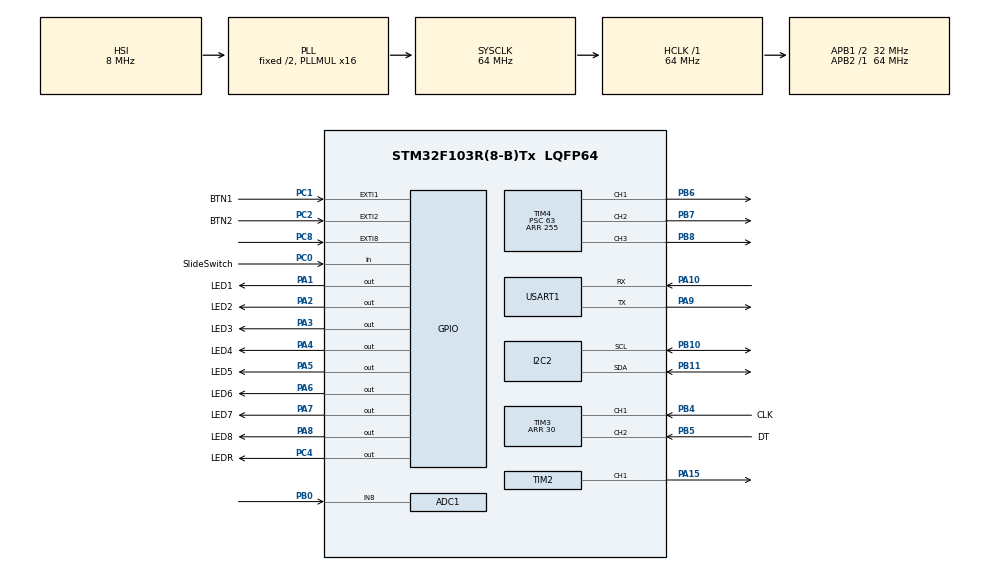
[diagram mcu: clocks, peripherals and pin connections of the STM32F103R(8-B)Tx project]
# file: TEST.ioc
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ADC1.Channel-2\#ChannelRegularConversion=ADC_CHANNEL_8
ADC1.ContinuousConvMode=ENABLE
ADC1.NbrOfConversionFlag=1
ADC1.Rank-2\#ChannelRegularConversion=1
ADC1.SamplingTime-2\#ChannelRegularConversion=ADC_SAMPLETIME_1CYCLE_5
ADC1.master=1
I2C2.I2C_Mode=I2C_Fast
Mcu.Family=STM32F1
Mcu.Name=STM32F103R(8-B)Tx
Mcu.Package=LQFP64
NVIC.EXTI1_IRQn=true\:0\:0\:false\:false\:true\:true\:true\:true
NVIC.EXTI2_IRQn=true\:0\:0\:false\:false\:true\:true\:true\:true
NVIC.PriorityGroup=NVIC_PRIORITYGROUP_4
PA1.GPIO_Label=LED1
PA1.GPIO_ModeDefaultOutputPP=GPIO_MODE_OUTPUT_PP
PA1.GPIO_PuPd=GPIO_NOPULL
PA1.PinState=GPIO_PIN_SET
PA1.Signal=GPIO_Output
PA10.Mode=Asynchronous
PA10.Signal=USART1_RX
PA13.Mode=Trace_Asynchronous_SW
PA13.Signal=SYS_JTMS-SWDIO
PA14.Mode=Trace_Asynchronous_SW
PA14.Signal=SYS_JTCK-SWCLK
PA15.Signal=S_TIM2_CH1_ETR
PA2.GPIO_Label=LED2
PA2.PinState=GPIO_PIN_SET
PA2.Signal=GPIO_Output
PA3.GPIO_Label=LED3
PA3.PinState=GPIO_PIN_SET
PA3.Signal=GPIO_Output
PA4.GPIO_Label=LED4
PA4.PinState=GPIO_PIN_SET
PA4.Signal=GPIO_Output
PA5.GPIO_Label=LED5
PA5.PinState=GPIO_PIN_SET
PA5.Signal=GPIO_Output
PA6.GPIO_Label=LED6
PA6.PinState=GPIO_PIN_SET
PA6.Signal=GPIO_Output
PA7.GPIO_Label=LED7
PA7.PinState=GPIO_PIN_SET
PA7.Signal=GPIO_Output
PA8.GPIO_Label=LED8
PA8.PinState=GPIO_PIN_SET
PA8.Signal=GPIO_Output
PA9.Mode=Asynchronous
PA9.Signal=USART1_TX
PB0.Signal=ADCx_IN8
PB10.Mode=I2C
PB10.Signal=I2C2_SCL
PB11.Mode=I2C
PB11.Signal=I2C2_SDA
PB3.Mode=Trace_Asynchronous_SW
PB3.Signal=SYS_JTDO-TRACESWO
PB4.GPIO_Label=CLK
PB4.Signal=S_TIM3_CH1
PB5.GPIO_Label=DT
PB5.Signal=S_TIM3_CH2
PB6.Signal=S_TIM4_CH1
PB7.Signal=S_TIM4_CH2
PB8.Signal=S_TIM4_CH3
PC0.GPIO_Label=SlideSwitch
PC0.Signal=GPIO_Input
PC1.GPIO_Label=BTN1
PC1.GPIO_ModeDefaultEXTI=GPIO_MODE_IT_RISING
PC1.GPIO_PuPd=GPIO_PULLUP
PC1.Signal=GPXTI1
PC2.GPIO_Label=BTN2
PC2.GPIO_PuPd=GPIO_PULLUP
PC2.Signal=GPXTI2
PC4.GPIO_Label=LEDR
PC4.Signal=GPIO_Output
PC8.Signal=GPXTI8
ProjectManager.HeapSize=0x200
ProjectManager.StackSize=0x400
ProjectManager.TargetToolchain=STM32CubeIDE
RCC.ADCPresc=RCC_ADCPCLK2_DIV8
RCC.AHBFreq_Value=64000000
RCC.APB1CLKDivider=RCC_HCLK_DIV2
RCC.APB1Freq_Value=32000000
RCC.APB1TimFreq_Value=64000000
RCC.APB2Freq_Value=64000000
RCC.APB2TimFreq_Value=64000000
RCC.HCLKFreq_Value=64000000
RCC.PLLMUL=RCC_PLL_MUL16
RCC.SYSCLKFreq_VALUE=64000000
RCC.SYSCLKSource=RCC_SYSCLKSOURCE_PLLCLK
RCC.USBFreq_Value=64000000
SH.ADCx_IN8.0=ADC1_IN8,IN8
SH.S_TIM2_CH1_ETR.0=TIM2_CH1,PWM Generation1 CH1
SH.S_TIM3_CH1.0=TIM3_CH1,Encoder_Interface
SH.S_TIM3_CH2.0=TIM3_CH2,Encoder_Interface
SH.S_TIM4_CH1.0=TIM4_CH1,PWM Generation1 CH1
SH.S_TIM4_CH2.0=TIM4_CH2,PWM Generation2 CH2
SH.S_TIM4_CH3.0=TIM4_CH3,PWM Generation3 CH3
TIM2.Channel-PWM\ Generation1\ CH1=TIM_CHANNEL_1
TIM2.Period=249
TIM2.Prescaler=63
TIM3.Period=30
TIM4.Channel-PWM\ Generation1\ CH1=TIM_CHANNEL_1
TIM4.Channel-PWM\ Generation2\ CH2=TIM_CHANNEL_2
TIM4.Channel-PWM\ Generation3\ CH3=TIM_CHANNEL_3
TIM4.Period=255
TIM4.Prescaler=63
USART1.VirtualMode=VM_ASYNC
board=custom

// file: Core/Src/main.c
/* USER CODE BEGIN Header */
/**
  ******************************************************************************
  * @file           : main.c
  * @brief          : Main program body
  ******************************************************************************
  * @attention
  *
  * Copyright (c) 2025 STMicroelectronics.
  * All rights reserved.
  *
  * This software is licensed under terms that can be found in the LICENSE file
  * in the root directory of this software component.
  * If no LICENSE file comes with this software, it is provided AS-IS.
  *
  ******************************************************************************
  */
/* USER CODE END Header */
#include "main.h"

/* USER CODE BEGIN Includes */
#include <stdio.h>
#include <stdbool.h>
#include <stdlib.h>
#include "fonts.h"
#include "ssd1306.h"

/* USER CODE END Includes */

/* USER CODE BEGIN PTD */
#define OLED_ADDRESS 0x3C
/* USER CODE END PTD */

ADC_HandleTypeDef hadc1;

I2C_HandleTypeDef hi2c2;

TIM_HandleTypeDef htim2;
TIM_HandleTypeDef htim3;
TIM_HandleTypeDef htim4;

UART_HandleTypeDef huart1;

void SystemClock_Config(void);
static void MX_GPIO_Init(void);
static void MX_USART1_UART_Init(void);
static void MX_TIM2_Init(void);
static void MX_TIM4_Init(void);
static void MX_TIM3_Init(void);
static void MX_ADC1_Init(void);
static void MX_I2C2_Init(void);

/* USER CODE BEGIN 0 */

uint8_t Ledstatus;
//----------------------------------------------------------------------
// Send printf to uart1
int _write(int fd, char* ptr, int len) {
  HAL_StatusTypeDef hstatus;

  if (fd == 1 || fd == 2) {
    hstatus = HAL_UART_Transmit(&huart1, (uint8_t *) ptr, len, HAL_MAX_DELAY);
    if (hstatus == HAL_OK)
      return len;
    else
      return -1;
  }
  return -1;
}
//----------------------------------------------------------------------
GPIO_TypeDef* ports[] = {LED1_GPIO_Port, LED2_GPIO_Port, LED3_GPIO_Port, LED4_GPIO_Port,
                           LED5_GPIO_Port, LED6_GPIO_Port, LED7_GPIO_Port, LED8_GPIO_Port};
uint16_t pins[] = {LED1_Pin, LED2_Pin, LED3_Pin, LED4_Pin,
                     LED5_Pin, LED6_Pin, LED7_Pin, LED8_Pin};
//----------------------------------------------------------------------
uint8_t Ledstatus;
void prinLedStatus()
{

  for (int i = 0; i < 8; i++)
  {
	if (Ledstatus & (1 << i))
	{
		HAL_GPIO_WritePin(ports[i], pins[i], GPIO_PIN_SET);
	}else
	{
		HAL_GPIO_WritePin(ports[i], pins[i], GPIO_PIN_RESET);
	}
  }

}
//-----------------------------------------------------------------------------
void HandleButtons(uint16_t GPIO_Pin)
{
    if (Ledstatus == 0)
    {
        Ledstatus = 1;
    }
    if (GPIO_Pin == BTN1_Pin)
    {
        Ledstatus <<= 1;
        if (Ledstatus == 0) Ledstatus = 1;
    }
    else if (GPIO_Pin == BTN2_Pin)
    {
        Ledstatus >>= 1;
        if (Ledstatus == 0) Ledstatus = 0x80;
    }
}

//--------------------------------------------------------------------------
void HAL_GPIO_EXTI_Callback(uint16_t PGIO_Pin)
{
	HandleButtons(PGIO_Pin);
}
//--------------------------------------------------------------------------

void handlSlideSwitch()
{
	GPIO_PinState btnState = HAL_GPIO_ReadPin(SlideSwitch_GPIO_Port, SlideSwitch_Pin);
	if (btnState == GPIO_PIN_SET)
	{
		HAL_GPIO_WritePin(LEDR_GPIO_Port,LEDR_Pin, GPIO_PIN_SET);
	}
	else
	{
		HAL_GPIO_WritePin(LEDR_GPIO_Port,LEDR_Pin, GPIO_PIN_RESET);
	}
}

//--------------------------------------------------------------------------
void RGB_SetColor(uint8_t r, uint8_t g, uint8_t b) {
    __HAL_TIM_SET_COMPARE(&htim4, TIM_CHANNEL_1, r); // Красный
    __HAL_TIM_SET_COMPARE(&htim4, TIM_CHANNEL_2, g); // Зелёный
    __HAL_TIM_SET_COMPARE(&htim4, TIM_CHANNEL_3, b); // Синий
}
//---------------------------------------------------------------------------

void Buzzer_SetDuty(uint16_t duty) {
    if (duty > htim2.Init.Period) duty = htim2.Init.Period;
    __HAL_TIM_SET_COMPARE(&htim2, TIM_CHANNEL_1, duty);
}

//--------------------------------------------------------------------------
void handlSlideToBuzzer()
{
	GPIO_PinState btnState = HAL_GPIO_ReadPin(SlideSwitch_GPIO_Port, SlideSwitch_Pin);
	if (btnState == GPIO_PIN_SET)
	{
		 HAL_TIM_PWM_Start(&htim2, TIM_CHANNEL_1);
		 Buzzer_SetDuty( (htim2.Init.Period + 1) / 2 );
	}
	else
	{
		HAL_TIM_PWM_Stop(&htim2, TIM_CHANNEL_1);
	}
}

//-------------------------------------------------------------------------
int32_t encoder_value = 0;
uint8_t active_leds = 0;
const uint8_t led_sequence[8] = {1, 3, 7, 15, 31, 63, 127, 255};
uint16_t adc_value = 0;
//-------------------------------------------------------------------------

void UpdateEncoder()
{
	static uint16_t last_cnt = 0;
	    uint16_t curr_cnt = TIM3->CNT;
	    int16_t diff = curr_cnt - last_cnt;

	    // Обработка переполнения с ARR = 30
	    if(diff > 15) {
	        diff -= 30;
	    }
	    else if(diff < -15) {
	        diff += 30;
	    }

	    encoder_value += diff;
	    last_cnt = curr_cnt;

	    // Изменяем индекс только при значительном изменении положения
	    static int8_t accumulated_diff = 0;
	    accumulated_diff += diff;

	    if(accumulated_diff >= 4) { // Порог срабатывания +
	        if(active_leds < 7) active_leds++;
	        accumulated_diff = 0;
	    }
	    else if(accumulated_diff <= -4) { // Порог срабатывания -
	        if(active_leds > 0) active_leds--;
	        accumulated_diff = 0;
	    }

}

//-------------------------------------------------------------------------

int HandlAdctoLed(float value)
{
	int index = (int)(value / 0.5f); // шаг 0.5 В
	if(index > 7) index = 7;
	return led_sequence[index];
}

//-------------------------------------------------------------------------
/* Variables for AHT10 */
#define AHT10_ADDR         (0x38 << 1)
#define AHT10_INIT_CMD     0xE1
#define AHT10_MEASURE_CMD  0xAC
#define AHT10_DATA0        0x33
#define AHT10_DATA1        0x00

uint8_t AHT10_RX_Data[6];
uint32_t AHT10_ADC_Raw;
float AHT10_Temperature;
float AHT10_Humidity;

void AHT10_Init(void)
{
    uint8_t init_cmd[3] = {AHT10_INIT_CMD, 0x08, 0x00}; // 0x08 — калибровка
    HAL_I2C_Master_Transmit(&hi2c2, AHT10_ADDR, init_cmd, 3, 100);
    HAL_Delay(500);
}

void AHT10_ReadData(void)
{
    uint8_t measure_cmd[3] = {AHT10_MEASURE_CMD, AHT10_DATA0, AHT10_DATA1};

    HAL_I2C_Master_Transmit(&hi2c2, AHT10_ADDR, measure_cmd, 3, 100);
    HAL_Delay(100);

    HAL_I2C_Master_Receive(&hi2c2, AHT10_ADDR, AHT10_RX_Data, 6, 100);

    uint32_t hum_raw = ((uint32_t)(AHT10_RX_Data[1]) << 12) |
                       ((uint32_t)(AHT10_RX_Data[2]) << 4)  |
                       ((AHT10_RX_Data[3] & 0xF0) >> 4);

    AHT10_Humidity = ((float)hum_raw / 1048576.0f) * 100.0f;

    AHT10_ADC_Raw = ((uint32_t)(AHT10_RX_Data[3] & 0x0F) << 16) |
                    ((uint32_t)(AHT10_RX_Data[4]) << 8) |
                    (AHT10_RX_Data[5]);

    AHT10_Temperature = ((float)AHT10_ADC_Raw / 1048576.0f) * 200.0f - 50.0f;
}

//-------------------------------------------------------------------

/* USER CODE END 0 */

int main(void)
{

  /* MCU Configuration--------------------------------------------------------*/

  /* Reset of all peripherals, Initializes the Flash interface and the Systick. */
  HAL_Init();

  /* Configure the system clock */
  SystemClock_Config();

  /* Initialize all configured peripherals */
  MX_GPIO_Init();
  MX_USART1_UART_Init();
  MX_TIM2_Init();
  MX_TIM4_Init();
  MX_TIM3_Init();
  MX_ADC1_Init();
  MX_I2C2_Init();
  /* USER CODE BEGIN 2 */
  HAL_TIM_Encoder_Start(&htim3, TIM_CHANNEL_ALL);

  HAL_TIM_PWM_Start(&htim4, TIM_CHANNEL_1);
  HAL_TIM_PWM_Start(&htim4, TIM_CHANNEL_2);
  HAL_TIM_PWM_Start(&htim4, TIM_CHANNEL_3);
  HAL_ADC_Start(&hadc1);

  SSD1306_Init();

  SSD1306_GotoXY(0,0);
  SSD1306_Puts ("HELLO", &Font_7x10, 1);
  SSD1306_GotoXY(0,10);
  SSD1306_Puts ("WORLD", &Font_7x10, 1);
  SSD1306_UpdateScreen();

  AHT10_Init();

  /* USER CODE END 2 */

  /* Infinite loop */
  /* USER CODE BEGIN WHILE */

  Ledstatus = 0;
  while (1)
  {
	  UpdateEncoder();

	  // Управляем светодиодами в зависимости от положения энкодера
	  //Ledstatus = active_leds;
	  HAL_ADC_PollForConversion(&hadc1, HAL_MAX_DELAY);
	  adc_value = HAL_ADC_GetValue(&hadc1);

	  // Переводим значение в напряжение
	  float voltage = (adc_value * 3.3f) / 4095.0f;

	  Ledstatus = HandlAdctoLed(voltage);
	  prinLedStatus();
	  handlSlideSwitch();
	  handlSlideToBuzzer();

	  // Формируем строку для вывода
	  char buf[20];
	  sprintf(buf, "VOLTAGE %.2f", voltage);

	  SSD1306_GotoXY(0, 20);
	  SSD1306_Puts(buf, &Font_7x10, 1);
	  SSD1306_UpdateScreen();

	  AHT10_ReadData();

	  char buf2[20];
	  sprintf(buf2, "Temperature %.2f", AHT10_Temperature);

	  SSD1306_GotoXY(0, 30);
	  SSD1306_Puts(buf2, &Font_7x10, 1);
	  SSD1306_UpdateScreen();

	  char buf3[20];
	  sprintf(buf3, "Humidity %.2f", AHT10_Humidity);

	  SSD1306_GotoXY(0, 40);
	  SSD1306_Puts(buf3, &Font_7x10, 1);
	  SSD1306_UpdateScreen();

	/*  RGB_SetColor(255, 0, 0);   // Красный
	  HAL_Delay(500);
	  RGB_SetColor(0, 255, 0);   // Зелёный
	  HAL_Delay(500);
	  RGB_SetColor(0, 0, 255);   // Синий
	  HAL_Delay(500);
	  RGB_SetColor(255, 255, 255); // Белый
	  HAL_Delay(500);
	  RGB_SetColor(128, 0, 255);
	  HAL_Delay(500);*/

    /* USER CODE END WHILE */

  }
}

void SystemClock_Config(void)
{
  RCC_OscInitTypeDef RCC_OscInitStruct = {0};
  RCC_ClkInitTypeDef RCC_ClkInitStruct = {0};
  RCC_PeriphCLKInitTypeDef PeriphClkInit = {0};

  /** Initializes the RCC Oscillators according to the specified parameters
  * in the RCC_OscInitTypeDef structure.
  */
  RCC_OscInitStruct.OscillatorType = RCC_OSCILLATORTYPE_HSI;
  RCC_OscInitStruct.HSIState = RCC_HSI_ON;
  RCC_OscInitStruct.HSICalibrationValue = RCC_HSICALIBRATION_DEFAULT;
  RCC_OscInitStruct.PLL.PLLState = RCC_PLL_ON;
  RCC_OscInitStruct.PLL.PLLSource = RCC_PLLSOURCE_HSI_DIV2;
  RCC_OscInitStruct.PLL.PLLMUL = RCC_PLL_MUL16;
  if (HAL_RCC_OscConfig(&RCC_OscInitStruct) != HAL_OK)
  {
    Error_Handler();
  }

  /** Initializes the CPU, AHB and APB buses clocks
  */
  RCC_ClkInitStruct.ClockType = RCC_CLOCKTYPE_HCLK|RCC_CLOCKTYPE_SYSCLK
                              |RCC_CLOCKTYPE_PCLK1|RCC_CLOCKTYPE_PCLK2;
  RCC_ClkInitStruct.SYSCLKSource = RCC_SYSCLKSOURCE_PLLCLK;
  RCC_ClkInitStruct.AHBCLKDivider = RCC_SYSCLK_DIV1;
  RCC_ClkInitStruct.APB1CLKDivider = RCC_HCLK_DIV2;
  RCC_ClkInitStruct.APB2CLKDivider = RCC_HCLK_DIV1;

  if (HAL_RCC_ClockConfig(&RCC_ClkInitStruct, FLASH_LATENCY_2) != HAL_OK)
  {
    Error_Handler();
  }
  PeriphClkInit.PeriphClockSelection = RCC_PERIPHCLK_ADC;
  PeriphClkInit.AdcClockSelection = RCC_ADCPCLK2_DIV8;
  if (HAL_RCCEx_PeriphCLKConfig(&PeriphClkInit) != HAL_OK)
  {
    Error_Handler();
  }
}

static void MX_ADC1_Init(void)
{

  ADC_ChannelConfTypeDef sConfig = {0};

  /** Common config
  */
  hadc1.Instance = ADC1;
  hadc1.Init.ScanConvMode = ADC_SCAN_DISABLE;
  hadc1.Init.ContinuousConvMode = ENABLE;
  hadc1.Init.DiscontinuousConvMode = DISABLE;
  hadc1.Init.ExternalTrigConv = ADC_SOFTWARE_START;
  hadc1.Init.DataAlign = ADC_DATAALIGN_RIGHT;
  hadc1.Init.NbrOfConversion = 1;
  if (HAL_ADC_Init(&hadc1) != HAL_OK)
  {
    Error_Handler();
  }

  /** Configure Regular Channel
  */
  sConfig.Channel = ADC_CHANNEL_8;
  sConfig.Rank = ADC_REGULAR_RANK_1;
  sConfig.SamplingTime = ADC_SAMPLETIME_1CYCLE_5;
  if (HAL_ADC_ConfigChannel(&hadc1, &sConfig) != HAL_OK)
  {
    Error_Handler();
  }

}

static void MX_I2C2_Init(void)
{

  hi2c2.Instance = I2C2;
  hi2c2.Init.ClockSpeed = 400000;
  hi2c2.Init.DutyCycle = I2C_DUTYCYCLE_2;
  hi2c2.Init.OwnAddress1 = 0;
  hi2c2.Init.AddressingMode = I2C_ADDRESSINGMODE_7BIT;
  hi2c2.Init.DualAddressMode = I2C_DUALADDRESS_DISABLE;
  hi2c2.Init.OwnAddress2 = 0;
  hi2c2.Init.GeneralCallMode = I2C_GENERALCALL_DISABLE;
  hi2c2.Init.NoStretchMode = I2C_NOSTRETCH_DISABLE;
  if (HAL_I2C_Init(&hi2c2) != HAL_OK)
  {
    Error_Handler();
  }

}

static void MX_TIM2_Init(void)
{

  TIM_MasterConfigTypeDef sMasterConfig = {0};
  TIM_OC_InitTypeDef sConfigOC = {0};

  htim2.Instance = TIM2;
  htim2.Init.Prescaler = 63;
  htim2.Init.CounterMode = TIM_COUNTERMODE_UP;
  htim2.Init.Period = 249;
  htim2.Init.ClockDivision = TIM_CLOCKDIVISION_DIV1;
  htim2.Init.AutoReloadPreload = TIM_AUTORELOAD_PRELOAD_DISABLE;
  if (HAL_TIM_PWM_Init(&htim2) != HAL_OK)
  {
    Error_Handler();
  }
  sMasterConfig.MasterOutputTrigger = TIM_TRGO_RESET;
  sMasterConfig.MasterSlaveMode = TIM_MASTERSLAVEMODE_DISABLE;
  if (HAL_TIMEx_MasterConfigSynchronization(&htim2, &sMasterConfig) != HAL_OK)
  {
    Error_Handler();
  }
  sConfigOC.OCMode = TIM_OCMODE_PWM1;
  sConfigOC.Pulse = 0;
  sConfigOC.OCPolarity = TIM_OCPOLARITY_HIGH;
  sConfigOC.OCFastMode = TIM_OCFAST_DISABLE;
  if (HAL_TIM_PWM_ConfigChannel(&htim2, &sConfigOC, TIM_CHANNEL_1) != HAL_OK)
  {
    Error_Handler();
  }
  HAL_TIM_MspPostInit(&htim2);

}

static void MX_TIM3_Init(void)
{

  TIM_Encoder_InitTypeDef sConfig = {0};
  TIM_MasterConfigTypeDef sMasterConfig = {0};

  htim3.Instance = TIM3;
  htim3.Init.Prescaler = 0;
  htim3.Init.CounterMode = TIM_COUNTERMODE_UP;
  htim3.Init.Period = 30;
  htim3.Init.ClockDivision = TIM_CLOCKDIVISION_DIV1;
  htim3.Init.AutoReloadPreload = TIM_AUTORELOAD_PRELOAD_DISABLE;
  sConfig.EncoderMode = TIM_ENCODERMODE_TI1;
  sConfig.IC1Polarity = TIM_ICPOLARITY_RISING;
  sConfig.IC1Selection = TIM_ICSELECTION_DIRECTTI;
  sConfig.IC1Prescaler = TIM_ICPSC_DIV1;
  sConfig.IC1Filter = 0;
  sConfig.IC2Polarity = TIM_ICPOLARITY_RISING;
  sConfig.IC2Selection = TIM_ICSELECTION_DIRECTTI;
  sConfig.IC2Prescaler = TIM_ICPSC_DIV1;
  sConfig.IC2Filter = 0;
  if (HAL_TIM_Encoder_Init(&htim3, &sConfig) != HAL_OK)
  {
    Error_Handler();
  }
  sMasterConfig.MasterOutputTrigger = TIM_TRGO_RESET;
  sMasterConfig.MasterSlaveMode = TIM_MASTERSLAVEMODE_DISABLE;
  if (HAL_TIMEx_MasterConfigSynchronization(&htim3, &sMasterConfig) != HAL_OK)
  {
    Error_Handler();
  }

}

static void MX_TIM4_Init(void)
{

  TIM_MasterConfigTypeDef sMasterConfig = {0};
  TIM_OC_InitTypeDef sConfigOC = {0};

  htim4.Instance = TIM4;
  htim4.Init.Prescaler = 63;
  htim4.Init.CounterMode = TIM_COUNTERMODE_UP;
  htim4.Init.Period = 255;
  htim4.Init.ClockDivision = TIM_CLOCKDIVISION_DIV1;
  htim4.Init.AutoReloadPreload = TIM_AUTORELOAD_PRELOAD_DISABLE;
  if (HAL_TIM_PWM_Init(&htim4) != HAL_OK)
  {
    Error_Handler();
  }
  sMasterConfig.MasterOutputTrigger = TIM_TRGO_RESET;
  sMasterConfig.MasterSlaveMode = TIM_MASTERSLAVEMODE_DISABLE;
  if (HAL_TIMEx_MasterConfigSynchronization(&htim4, &sMasterConfig) != HAL_OK)
  {
    Error_Handler();
  }
  sConfigOC.OCMode = TIM_OCMODE_PWM1;
  sConfigOC.Pulse = 0;
  sConfigOC.OCPolarity = TIM_OCPOLARITY_HIGH;
  sConfigOC.OCFastMode = TIM_OCFAST_DISABLE;
  if (HAL_TIM_PWM_ConfigChannel(&htim4, &sConfigOC, TIM_CHANNEL_1) != HAL_OK)
  {
    Error_Handler();
  }
  if (HAL_TIM_PWM_ConfigChannel(&htim4, &sConfigOC, TIM_CHANNEL_2) != HAL_OK)
  {
    Error_Handler();
  }
  if (HAL_TIM_PWM_ConfigChannel(&htim4, &sConfigOC, TIM_CHANNEL_3) != HAL_OK)
  {
    Error_Handler();
  }
  HAL_TIM_MspPostInit(&htim4);

}

static void MX_USART1_UART_Init(void)
{

  huart1.Instance = USART1;
  huart1.Init.BaudRate = 115200;
  huart1.Init.WordLength = UART_WORDLENGTH_8B;
  huart1.Init.StopBits = UART_STOPBITS_1;
  huart1.Init.Parity = UART_PARITY_NONE;
  huart1.Init.Mode = UART_MODE_TX_RX;
  huart1.Init.HwFlowCtl = UART_HWCONTROL_NONE;
  huart1.Init.OverSampling = UART_OVERSAMPLING_16;
  if (HAL_UART_Init(&huart1) != HAL_OK)
  {
    Error_Handler();
  }

}

static void MX_GPIO_Init(void)
{
  GPIO_InitTypeDef GPIO_InitStruct = {0};

  /* GPIO Ports Clock Enable */
  __HAL_RCC_GPIOC_CLK_ENABLE();
  __HAL_RCC_GPIOA_CLK_ENABLE();
  __HAL_RCC_GPIOB_CLK_ENABLE();

  /*Configure GPIO pin Output Level */
  HAL_GPIO_WritePin(GPIOA, LED1_Pin|LED2_Pin|LED3_Pin|LED4_Pin
                          |LED5_Pin|LED6_Pin|LED7_Pin|LED8_Pin, GPIO_PIN_SET);

  /*Configure GPIO pin Output Level */
  HAL_GPIO_WritePin(LEDR_GPIO_Port, LEDR_Pin, GPIO_PIN_RESET);

  /*Configure GPIO pin : SlideSwitch_Pin */
  GPIO_InitStruct.Pin = SlideSwitch_Pin;
  GPIO_InitStruct.Mode = GPIO_MODE_INPUT;
  GPIO_InitStruct.Pull = GPIO_NOPULL;
  HAL_GPIO_Init(SlideSwitch_GPIO_Port, &GPIO_InitStruct);

  /*Configure GPIO pins : BTN1_Pin BTN2_Pin */
  GPIO_InitStruct.Pin = BTN1_Pin|BTN2_Pin;
  GPIO_InitStruct.Mode = GPIO_MODE_IT_RISING;
  GPIO_InitStruct.Pull = GPIO_PULLUP;
  HAL_GPIO_Init(GPIOC, &GPIO_InitStruct);

  /*Configure GPIO pins : LED1_Pin LED2_Pin LED3_Pin LED4_Pin
                           LED5_Pin LED6_Pin LED7_Pin LED8_Pin */
  GPIO_InitStruct.Pin = LED1_Pin|LED2_Pin|LED3_Pin|LED4_Pin
                          |LED5_Pin|LED6_Pin|LED7_Pin|LED8_Pin;
  GPIO_InitStruct.Mode = GPIO_MODE_OUTPUT_PP;
  GPIO_InitStruct.Pull = GPIO_NOPULL;
  GPIO_InitStruct.Speed = GPIO_SPEED_FREQ_LOW;
  HAL_GPIO_Init(GPIOA, &GPIO_InitStruct);

  /*Configure GPIO pin : LEDR_Pin */
  GPIO_InitStruct.Pin = LEDR_Pin;
  GPIO_InitStruct.Mode = GPIO_MODE_OUTPUT_PP;
  GPIO_InitStruct.Pull = GPIO_NOPULL;
  GPIO_InitStruct.Speed = GPIO_SPEED_FREQ_LOW;
  HAL_GPIO_Init(LEDR_GPIO_Port, &GPIO_InitStruct);

  /*Configure GPIO pin : PC8 */
  GPIO_InitStruct.Pin = GPIO_PIN_8;
  GPIO_InitStruct.Mode = GPIO_MODE_IT_RISING;
  GPIO_InitStruct.Pull = GPIO_NOPULL;
  HAL_GPIO_Init(GPIOC, &GPIO_InitStruct);

  /* EXTI interrupt init*/
  HAL_NVIC_SetPriority(EXTI1_IRQn, 0, 0);
  HAL_NVIC_EnableIRQ(EXTI1_IRQn);

  HAL_NVIC_SetPriority(EXTI2_IRQn, 0, 0);
  HAL_NVIC_EnableIRQ(EXTI2_IRQn);

}

void Error_Handler(void)
{
  __disable_irq();
  while (1)
  {
  }
}
